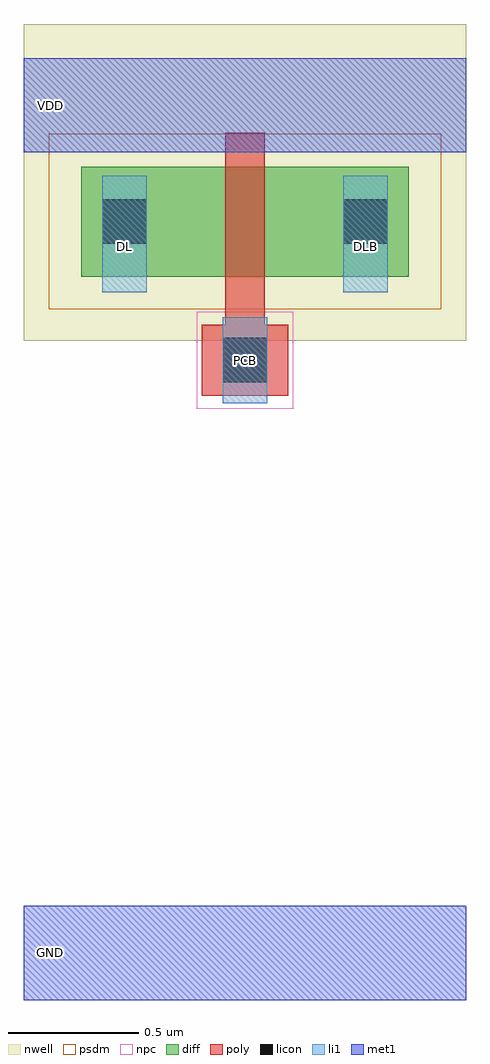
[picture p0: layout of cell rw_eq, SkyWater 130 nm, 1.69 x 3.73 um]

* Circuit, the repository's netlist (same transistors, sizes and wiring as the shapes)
* NGSPICE file created from rw_eq.ext - technology: sky130A

.subckt rw_eq PCB DL DLB VDD GND
X0 DLB PCB DL w_0_468# sky130_fd_pr__pfet_01v8 ad=0.231 pd=1.94 as=0.231 ps=1.94 w=0.42 l=0.15
.ends

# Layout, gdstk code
import gdstk
lib = gdstk.Library(unit=1e-6, precision=1e-09)
def R(c, l, rs):  # rectangles x0, y0, x1, y1
    for r in rs: c.add(gdstk.rectangle(r[:2], r[2:], *l))
nwell = (64, 20)
diff = (65, 20)
poly = (66, 20)
licon = (66, 44)
li1 = (67, 20)
met1 = (68, 20)
psdm = (94, 20)
npc = (95, 20)

rw_eq = lib.new_cell('rw_eq')
R(rw_eq, nwell, [(0,2.34,1.69,3.55)])
R(rw_eq, diff, [(0.22,2.585,1.47,3.005)])
R(rw_eq, poly, [(0.68,2.13,1.01,2.4), (0.77,2.4,0.92,3.135)])
R(rw_eq, licon, [(0.76,2.18,0.93,2.35), (0.3,2.71,0.47,2.88), (1.22,2.71,1.39,2.88)])
R(rw_eq, li1, [(0.76,2.1,0.93,2.43), (0.3,2.525,0.47,2.97), (1.22,2.525,1.39,2.97)])
R(rw_eq, met1, [(0,-0.18,1.69,0.18), (0,3.06,1.69,3.42)])
R(rw_eq, psdm, [(0.095,2.46,1.595,3.13)])
R(rw_eq, npc, [(0.66,2.08,1.03,2.45)])
rw_eq.add(gdstk.Label('PCB', (0.845,2.265), layer=67, texttype=5))
rw_eq.add(gdstk.Label('DL', (0.385,2.7), layer=67, texttype=5))
rw_eq.add(gdstk.Label('DLB', (1.305,2.7), layer=67, texttype=5))
rw_eq.add(gdstk.Label('VDD', (0.1,3.24), layer=68, texttype=5))
rw_eq.add(gdstk.Label('GND', (0.1,0), layer=68, texttype=5))

lib.write_gds('rw_eq.gds')
